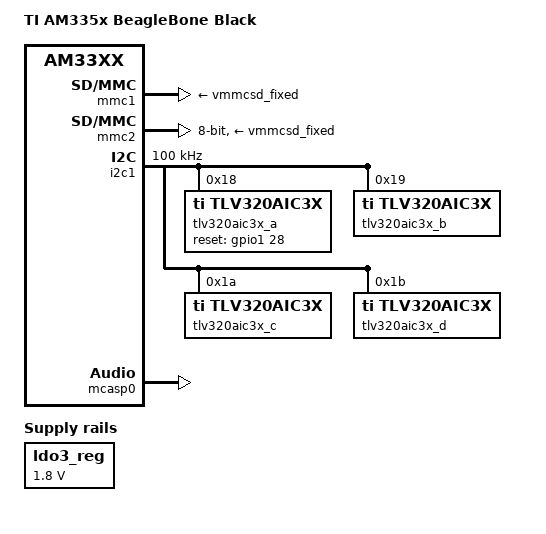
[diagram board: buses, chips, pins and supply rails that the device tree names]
/*
 * Copyright (C) 2012 Texas Instruments Incorporated - http://www.ti.com/
 *
 * This program is free software; you can redistribute it and/or modify
 * it under the terms of the GNU General Public License version 2 as
 * published by the Free Software Foundation.
 */



/* 
   * MCASP pin mapping
   *                          ball   BBB
   * MCASP0_ACLKX             A13    P9.31
   * MCASP0_AFSX              B13    P9.29
   * MCASP0_AXR2  (mcasp OUT) C12    P9.28
   * MCASP0_AXR3  (mcasp IN)  A14    P9.25
*/

/dts-v1/;

#include "am33xx.dtsi"
#include "am335x-bone-common.dtsi"



/ {
	model = "TI AM335x BeagleBone Black";
	compatible = "ti,am335x-bone-black", "ti,am335x-bone", "ti,am33xx";
};

&ldo3_reg {
	regulator-min-microvolt = <1800000>;
	regulator-max-microvolt = <1800000>;
	regulator-always-on;
};

&mmc1 {
	vmmc-supply = <&vmmcsd_fixed>;
};

&mmc2 {
	vmmc-supply = <&vmmcsd_fixed>;
	pinctrl-names = "default";
	pinctrl-0 = <&emmc_pins>;
	bus-width = <8>;
	status = "okay";
};

&am33xx_pinmux {
	i2c2_pins_default: i2c2_pins_default {
	        pinctrl-single,pins = <
	                0x17c ( PIN_INPUT_PULLUP | MUX_MODE3 ) /* (D17) uart1_rtsn.I2C2_SCL */
	                0x178 ( PIN_INPUT_PULLUP | MUX_MODE3 ) /* (D18) uart1_ctsn.I2C2_SDA */
	        >;
	};


	i2c1_pins_default: pinmux_i2c1_pins {
                       pinctrl-single,pins = <
                               0x158 0x72      /* uart1_ctsn.i2c2_sda, SLEWCTRL_SLOW | INPUT_PULLUP | MODE2 */
                               0x15c 0x72      /* uart1_rtsn.i2c2_scl, SLEWCTRL_SLOW | INPUT_PULLUP | MODE2 */
                       >;
        };
	
	mcasp_0_pins_default: mcasp_0_pins_default {
		pinctrl-single,pins = <
			0x190 ( PIN_INPUT | MUX_MODE0 ) /* (A13) mcasp0_aclkx.mcasp0_aclkx */
			0x194 ( PIN_INPUT | MUX_MODE0 ) /* (B13) mcasp0_fsx.mcasp0_fsx */
			0x19c ( PIN_OUTPUT | MUX_MODE2 ) /* (C12) mcasp0_ahclkr.mcasp0_axr2 */
			0x1ac ( PIN_INPUT | MUX_MODE2 ) /* (A14) mcasp0_ahclkx.mcasp0_axr3 */
		>;
	};
};


&i2c1 {
	clock-frequency = <100000>;
	status = "okay";
	pinctrl-names = "default";
	pinctrl-0 = <&i2c1_pins_default>;
	status="okay";

	tlv320aic3x_a: tlv320aic3x@18 {
		compatible = "ti,tlv320aic3x";
		reg = <0x18>;
		tdm-offset = <0>;
		gpio-reset = <&gpio1 28 GPIO_ACTIVE_HIGH>; /* all resets are tied together... */
		status = "okay";
	};
	
	tlv320aic3x_b: tlv320aic3x@19 {
		compatible = "ti,tlv320aic3x";
		reg = <0x19>;
		tdm-offset = <32>;
		status = "okay";
	};
	
	tlv320aic3x_c: tlv320aic3x@1a {
		compatible = "ti,tlv320aic3x";
		reg = <0x1a>;
		tdm-offset = <64>;
		status = "okay";
	};
	
	tlv320aic3x_d: tlv320aic3x@1b {
		compatible = "ti,tlv320aic3x";
		reg = <0x1b>;
		tdm-offset = <96>;
		status = "okay";
	};
	
};

&mcasp0 {
	pinctrl-names = "default";
	pinctrl-0 = <&mcasp_0_pins_default>;
	status = "okay";

	op-mode = <0>;          /* MCASP_IIS_MODE */
	tdm-slots = <16>;
	num-serializer = <16>;
	serial-dir = <  /* 0: INACTIVE, 1: TX, 2: RX */ 
		0 0 1 2
		0 0 0 0
		0 0 0 0
		0 0 0 0
	>;
	tx-num-evt = <1>;
	rx-num-evt = <1>;
};


/ {
	sound {
		compatible = "ti,da830-evm-audio";
		ti,model = "PUPPY-AUDIO";
		ti,audio-codec = <
			       &tlv320aic3x_a 
			       &tlv320aic3x_b 
			       &tlv320aic3x_c
			       &tlv320aic3x_d
			       >;
		ti,mcasp-controller = <&mcasp0>;
		ti,codec-clock-rate = <12288000>;
		ti,audio-routing =
			"Headphone Jack",       "a HPLOUT",
			"Headphone Jack",       "a HPROUT",
			"Headphone Jack",       "b HPLOUT",
			"Headphone Jack",       "b HPROUT",
			"Headphone Jack",       "c HPLOUT",
			"Headphone Jack",       "c HPROUT",
			"Headphone Jack",       "d HPLOUT",
			"Headphone Jack",       "d HPROUT",
			"a LINE1L",               "Line In",
			"a LINE1R",               "Line In",
			"b LINE1L",               "Line In",
			"b LINE1R",               "Line In",
			"c LINE1L",               "Line In",
			"c LINE1R",               "Line In",
			"d LINE1L",               "Line In",
			"d LINE1R",               "Line In";
		status="okay";
	};
};
